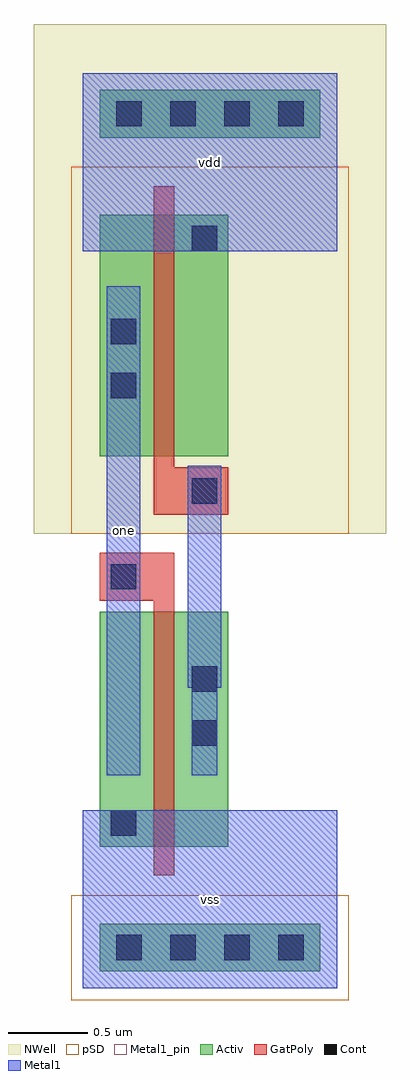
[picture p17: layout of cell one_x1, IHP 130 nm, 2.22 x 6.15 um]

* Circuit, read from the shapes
.subckt one_x1 one vdd vss
XM1 n1 one vss vss sg13_lv_nmos w=1.48u l=0.13u
XM2 vdd n1 one vdd sg13_lv_pmos w=1.52u l=0.13u
.ends

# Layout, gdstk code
import gdstk
lib = gdstk.Library(unit=1e-6, precision=1e-09)
def R(c, l, rs):  # rectangles x0, y0, x1, y1
    for r in rs: c.add(gdstk.rectangle(r[:2], r[2:], *l))
def P(c, l, *ps):  # polygons
    for p in ps: c.add(gdstk.Polygon(p, *l))
Activ = (1, 0)
GatPoly = (5, 0)
Cont = (6, 0)
Metal1 = (8, 0)
Metal1_pin = (8, 2)
pSD = (14, 0)
NWell = (31, 0)

one_x1 = lib.new_cell('one_x1')
P(one_x1, Activ, [(0.645,0.89),(0.645,2.37),(0.915,2.37),(0.915,0.89),(0.645,0.89)],
  [(0.615,1.455),(0.615,2.095),(0.915,2.095),(0.915,1.455),(0.615,1.455)],
  [(0.575,0.89),(0.575,2.37),(0.805,2.37),(0.805,0.89),(0.575,0.89)],
  [(0.615,0.89),(0.615,2.37),(0.915,2.37),(0.915,0.89),(0.615,0.89)],
  [(0.445,0.89),(0.445,2.37),(0.575,2.37),(0.575,0.89),(0.445,0.89)],
  [(0.105,0.89),(0.105,2.37),(0.375,2.37),(0.375,0.89),(0.105,0.89)],
  [(0.215,0.89),(0.215,2.37),(0.445,2.37),(0.445,0.89),(0.215,0.89)],
  [(0.14,0.105),(0.14,0.405),(1.46,0.405),(1.46,0.105),(0.14,0.105)],
  [(0.105,0.105),(0.105,0.405),(1.495,0.405),(1.495,0.105),(0.105,0.105)],
  [(0.105,0.89),(0.105,1.19),(0.405,1.19),(0.405,0.89),(0.105,0.89)],
  [(0.105,0.89),(0.105,2.37),(0.405,2.37),(0.405,0.89),(0.105,0.89)],
  [(0.445,3.35),(0.445,4.87),(0.575,4.87),(0.575,3.35),(0.445,3.35)],
  [(0.575,3.35),(0.575,4.87),(0.805,4.87),(0.805,3.35),(0.575,3.35)],
  [(0.105,5.355),(0.105,5.655),(1.495,5.655),(1.495,5.355),(0.105,5.355)],
  [(0.645,3.35),(0.645,4.87),(0.915,4.87),(0.915,3.35),(0.645,3.35)],
  [(0.14,5.355),(0.14,5.655),(1.46,5.655),(1.46,5.355),(0.14,5.355)],
  [(0.615,3.35),(0.615,4.87),(0.915,4.87),(0.915,3.35),(0.615,3.35)],
  [(0.615,4.57),(0.615,4.87),(0.915,4.87),(0.915,4.57),(0.615,4.57)],
  [(0.215,3.35),(0.215,4.87),(0.445,4.87),(0.445,3.35),(0.215,3.35)],
  [(0.105,3.35),(0.105,4.87),(0.375,4.87),(0.375,3.35),(0.105,3.35)],
  [(0.105,3.645),(0.105,4.285),(0.405,4.285),(0.405,3.645),(0.105,3.645)],
  [(0.105,3.35),(0.105,4.87),(0.405,4.87),(0.405,3.35),(0.105,3.35)])
P(one_x1, GatPoly, [(0.615,2.98),(0.615,3.28),(0.915,3.28),(0.915,2.98),(0.615,2.98)],
  [(0.445,3.17),(0.445,5.05),(0.575,5.05),(0.575,3.17),(0.445,3.17)],
  [(0.445,2.98),(0.445,5.05),(0.575,5.05),(0.575,2.98),(0.445,2.98)],
  [(0.51,2.98),(0.51,3.28),(0.765,3.28),(0.765,2.98),(0.51,2.98)],
  [(0.255,2.44),(0.255,2.74),(0.51,2.74),(0.51,2.44),(0.255,2.44)],
  [(0.445,0.71),(0.445,2.55),(0.575,2.55),(0.575,0.71),(0.445,0.71)],
  [(0.445,0.71),(0.445,2.74),(0.575,2.74),(0.575,0.71),(0.445,0.71)],
  [(0.105,2.44),(0.105,2.74),(0.405,2.74),(0.405,2.44),(0.105,2.44)])
P(one_x1, Cont, [(0.685,1.525),(0.685,1.685),(0.845,1.685),(0.845,1.525),(0.685,1.525)],
  [(0.685,1.865),(0.685,2.025),(0.845,2.025),(0.845,1.865),(0.685,1.865)],
  [(0.685,3.05),(0.685,3.21),(0.845,3.21),(0.845,3.05),(0.685,3.05)],
  [(0.175,0.96),(0.175,1.12),(0.335,1.12),(0.335,0.96),(0.175,0.96)],
  [(0.21,0.175),(0.21,0.335),(0.37,0.335),(0.37,0.175),(0.21,0.175)],
  [(0.55,0.175),(0.55,0.335),(0.71,0.335),(0.71,0.175),(0.55,0.175)],
  [(0.89,0.175),(0.89,0.335),(1.05,0.335),(1.05,0.175),(0.89,0.175)],
  [(1.23,0.175),(1.23,0.335),(1.39,0.335),(1.39,0.175),(1.23,0.175)],
  [(0.685,4.64),(0.685,4.8),(0.845,4.8),(0.845,4.64),(0.685,4.64)],
  [(0.21,5.425),(0.21,5.585),(0.37,5.585),(0.37,5.425),(0.21,5.425)],
  [(1.23,5.425),(1.23,5.585),(1.39,5.585),(1.39,5.425),(1.23,5.425)],
  [(0.55,5.425),(0.55,5.585),(0.71,5.585),(0.71,5.425),(0.55,5.425)],
  [(0.89,5.425),(0.89,5.585),(1.05,5.585),(1.05,5.425),(0.89,5.425)],
  [(0.175,3.715),(0.175,3.875),(0.335,3.875),(0.335,3.715),(0.175,3.715)],
  [(0.175,4.055),(0.175,4.215),(0.335,4.215),(0.335,4.055),(0.175,4.055)],
  [(0.175,2.51),(0.175,2.67),(0.335,2.67),(0.335,2.51),(0.175,2.51)])
R(one_x1, Metal1, [(0,0,1.6,1.12), (0.15,1.34,0.36,4.42), (0,4.64,1.6,5.76)])
P(one_x1, Metal1, [(0.685,2.97),(0.685,3.29),(0.845,3.29),(0.845,2.97),(0.685,2.97)],
  [(0.66,1.89),(0.66,3.29),(0.87,3.29),(0.87,1.89),(0.66,1.89)],
  [(0.685,1.445),(0.685,2.105),(0.845,2.105),(0.845,1.445),(0.685,1.445)],
  [(0.685,1.34),(0.685,2.21),(0.845,2.21),(0.845,1.34),(0.685,1.34)],
  [(0.21,0.095),(0.21,0.415),(1.39,0.415),(1.39,0.095),(0.21,0.095)],
  [(0.095,0.96),(0.095,1.12),(0.415,1.12),(0.415,0.96),(0.095,0.96)],
  [(0,0),(0,1.12),(1.6,1.12),(1.6,0),(0,0)],
  [(0.605,4.64),(0.605,4.8),(0.925,4.8),(0.925,4.64),(0.605,4.64)],
  [(0,4.64),(0,5.76),(1.6,5.76),(1.6,4.64),(0,4.64)],
  [(0.21,5.345),(0.21,5.665),(1.39,5.665),(1.39,5.345),(0.21,5.345)],
  [(0.175,3.51),(0.175,4.42),(0.335,4.42),(0.335,3.51),(0.175,3.51)],
  [(0.175,2.43),(0.175,2.75),(0.335,2.75),(0.335,2.43),(0.175,2.43)],
  [(0.15,1.34),(0.15,4.42),(0.36,4.42),(0.36,1.34),(0.15,1.34)],
  [(0.175,3.635),(0.175,4.295),(0.335,4.295),(0.335,3.635),(0.175,3.635)])
R(one_x1, Metal1_pin, [(0,0,1.6,1.12), (0,0,1.6,1.12), (0.15,1.34,0.36,4.42), (0.15,1.34,0.36,4.42), (0,4.64,1.6,5.76), (0,4.64,1.6,5.76)])
P(one_x1, pSD, [(-0.075,-0.075),(-0.075,0.585),(1.675,0.585),(1.675,-0.075),(-0.075,-0.075)],
  [(0.035,3.17),(0.035,5.05),(0.985,5.05),(0.985,3.17),(0.035,3.17)],
  [(-0.075,3.345),(-0.075,4.585),(0.585,4.585),(0.585,3.345),(-0.075,3.345)],
  [(-0.075,3.05),(-0.075,5.17),(0.555,5.17),(0.555,3.05),(-0.075,3.05)],
  [(0.145,3.05),(0.145,5.17),(0.875,5.17),(0.875,3.05),(0.145,3.05)],
  [(0.435,4.27),(0.435,5.17),(1.095,5.17),(1.095,4.27),(0.435,4.27)],
  [(0.465,3.05),(0.465,5.17),(1.095,5.17),(1.095,3.05),(0.465,3.05)],
  [(-0.075,2.86),(-0.075,5.17),(1.675,5.17),(1.675,2.86),(-0.075,2.86)],
  [(-0.04,-0.075),(-0.04,0.585),(1.64,0.585),(1.64,-0.075),(-0.04,-0.075)],
  [(-0.075,3.05),(-0.075,5.17),(0.585,5.17),(0.585,3.05),(-0.075,3.05)],
  [(0.435,3.05),(0.435,5.17),(1.095,5.17),(1.095,3.05),(0.435,3.05)])
P(one_x1, NWell, [(-0.205,3.335),(-0.205,4.595),(0.715,4.595),(0.715,3.335),(-0.205,3.335)],
  [(0.305,3.04),(0.305,5.18),(1.225,5.18),(1.225,3.04),(0.305,3.04)],
  [(-0.095,3.04),(-0.095,5.18),(1.115,5.18),(1.115,3.04),(-0.095,3.04)],
  [(-0.205,5.045),(-0.205,5.965),(1.805,5.965),(1.805,5.045),(-0.205,5.045)],
  [(-0.205,3.04),(-0.205,5.18),(0.685,5.18),(0.685,3.04),(-0.205,3.04)],
  [(0.305,4.26),(0.305,5.18),(1.225,5.18),(1.225,4.26),(0.305,4.26)],
  [(-0.31,2.86),(-0.31,6.07),(1.91,6.07),(1.91,2.86),(-0.31,2.86)],
  [(0.335,3.04),(0.335,5.18),(1.225,5.18),(1.225,3.04),(0.335,3.04)],
  [(-0.17,5.045),(-0.17,5.965),(1.77,5.965),(1.77,5.045),(-0.17,5.045)],
  [(-0.205,3.04),(-0.205,5.18),(0.715,5.18),(0.715,3.04),(-0.205,3.04)])
one_x1.add(gdstk.Label('vss', (0.8,0.56), layer=8, texttype=25))
one_x1.add(gdstk.Label('vdd', (0.8,5.2), layer=8, texttype=25))
one_x1.add(gdstk.Label('one', (0.255,2.88), layer=8, texttype=25))

lib.write_gds('one_x1.gds')
